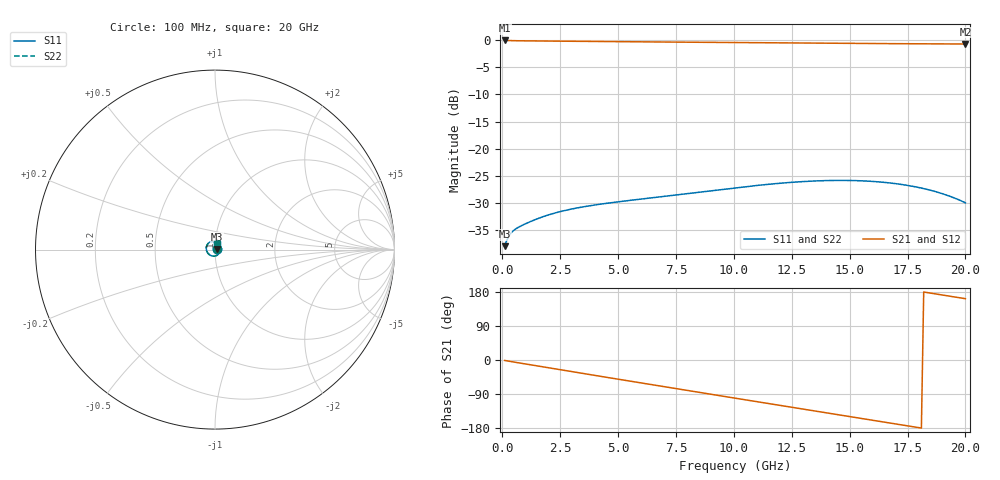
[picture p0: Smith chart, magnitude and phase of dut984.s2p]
! Touchstone file exported from HFSS 2026.1.0
!  File:  C:/ffzhzh/LocalFiles/Ansys_Project_Files/temp_train_TSV_RDL_984_1783287445_38820.aedt
!  Generated:  05:46:27 AM Jul  6, 2026
!  Design:  TSV_RDL
!  Project:  temp_train_TSV_RDL_984_1783287445_38820
! Variables:
!  h_bsmrdl = 5.95um
!  h_ox = 20um
!  h_rdl = 5um
!  h_sub = 91.26um
!  h_tmrdl = 2.47um
!  h_tsv = 91.26um
!  h_via = 3um
!  l_bsmrdl = 502.5um
!  l_sub = 3181.03um
!  l_tmrdl = 277.74um
!  m_sub = 200um
!  pitch = 31.77um
!  r_tsv = 6.86um
!  s_tmrdl = 10um
!  w_bsmrdl = 27.46um
!  w_sub = 500um
!  w_tmrdl = 26.73um
!  x_tsv_center1 = 291.105um
!  x_tsv_center2 = 821.065um
!  x_tsv_center3 = 1125.535um
!  x_tsv_center4 = 1655.495um
!  x_tsv_center5 = 1959.965um
!  x_tsv_center6 = 2489.925um
# GHz S MA R 50.000000
! Terminal data exported
! Port[1] = TM_RDL1_1_T1
! Port[2] = TM_RDL5_1_T1
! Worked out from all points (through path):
!   200 points, 100 MHz to 20 GHz, reference 50 ohm
!   highest |S21| = -0.11 dB at 100 MHz (marker M1); lowest = -0.8 dB at 20 GHz (marker M2)
!   group delay of S21, straight-line fit = 27.4 ps
!   lowest |S11| = -37.9 dB at 100 MHz (marker M3), VSWR 1.03, Z = 51.3 + j0.228 ohm
!   |S11| at or under -10 dB: start of sweep to end of sweep
!   |S22| runs from -37.9 to -25.8 dB; largest |S21 - S12| = 4.7e-14
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0.1  0.01275 10.0  0.9875 -1.2  0.9875 -1.2  0.01275 10.0
! Gamma 0 0 0 0
! Port Impedance 50 0 50 0
0.2  0.01453 13.4  0.9861 -2.3  0.9861 -2.3  0.01453 13.4
0.4  0.01707 11.9  0.9832 -4.4  0.9832 -4.4  0.01707 11.9
0.8  0.01954 6.9  0.9802 -8.4  0.9802 -8.4  0.01954 6.9
2.1  0.02509 -10.4  0.9745 -21.6  0.9745 -21.6  0.0251 -10.4
3.5  0.02931 -33.8  0.9685 -35.7  0.9685 -35.7  0.02932 -33.8
5.2  0.03297 -63.9  0.9619 -52.6  0.9619 -52.6  0.03299 -63.9
6  0.03454 -78.3  0.959 -60.6  0.959 -60.6  0.03457 -78.3
6.8  0.03616 -92.7  0.9561 -68.5  0.9561 -68.5  0.03619 -92.7
7.6  0.03787 -107.1  0.9533 -76.4  0.9533 -76.4  0.03791 -107.1
8.4  0.0397 -121.3  0.9504 -84.4  0.9504 -84.4  0.03974 -121.3
9.2  0.04163 -135.2  0.9476 -92.3  0.9476 -92.3  0.04167 -135.2
10.1  0.04387 -150.4  0.9443 -101.2  0.9443 -101.2  0.0439 -150.4
10.9  0.04582 -163.5  0.9415 -109.1  0.9415 -109.1  0.04585 -163.5
11.7  0.04763 -176.2  0.9387 -116.9  0.9387 -116.9  0.04766 -176.1
13.4  0.05051 158.2  0.9329 -133.6  0.9329 -133.6  0.05052 158.2
15.1  0.05111 134.0  0.9276 -150.3  0.9276 -150.3  0.0511 134.0
16.7  0.04865 112.0  0.9233 -165.9  0.9233 -165.9  0.04863 112.1
17.5  0.0461 101.2  0.9213 -173.7  0.9213 -173.7  0.04608 101.2
18.3  0.0426 90.2  0.9195 178.4  0.9195 178.4  0.04257 90.1
19.2  0.03748 77.3  0.9177 169.6  0.9177 169.6  0.03745 77.3
20  0.03191 65.1  0.9161 161.8  0.9161 161.8  0.03189 65.0
